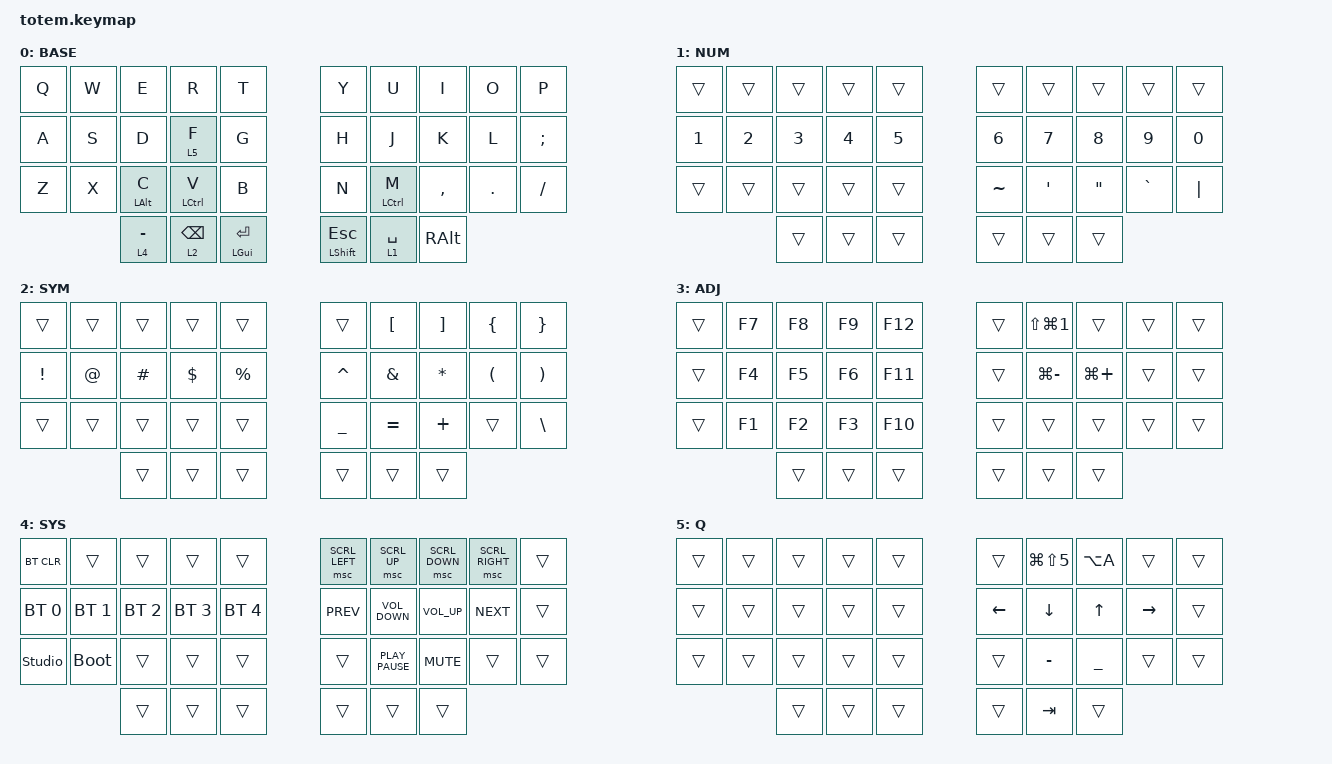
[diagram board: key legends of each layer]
#include <behaviors.dtsi>
#include <dt-bindings/zmk/bt.h>
#include <dt-bindings/zmk/keys.h>
#include <dt-bindings/zmk/pointing.h>

#define BASE 0
#define NAV  1
#define SYM  2
#define ADJ  3

&lt {
    quick-tap-ms = <200>;
    hold-trigger-on-release;
};

&mt {
    hold-trigger-on-release;
    require-prior-idle-ms = <200>;
    flavor = "tap-preferred";
};

/ {
    conditional_layers {
        compatible = "zmk,conditional-layers";

        tri_layer {
            if-layers = <1 2>;
            then-layer = <3>;
        };
    };

    behaviors {
        mt_hold: mt_hold {
            compatible = "zmk,behavior-hold-tap";
            label = "MT_HOLD";
            bindings = <&kp>, <&kp>;

            #binding-cells = <2>;
            tapping-term-ms = <200>;
        };

        underdash: underdash {
            compatible = "zmk,behavior-tap-dance";
            label = "UNDERDASH";
            #binding-cells = <0>;
            bindings = <&kp MINUS>, <&kp UNDER>;
        };

        quote: quote {
            compatible = "zmk,behavior-tap-dance";
            label = "QUOTE";
            #binding-cells = <0>;
            bindings = <&kp SINGLE_QUOTE>, <&kp DOUBLE_QUOTES>;
        };

        gravetick: gravetick {
            compatible = "zmk,behavior-tap-dance";
            label = "GRAVETICK";
            #binding-cells = <0>;
            bindings = <&kp GRAVE>, <&kp TILDE>;
        };

        left_bracket: left_bracket {
            compatible = "zmk,behavior-tap-dance";
            label = "LEFT_BRACKET";
            #binding-cells = <0>;
            bindings = <&kp LEFT_BRACKET>, <&kp LEFT_BRACE>;
        };

        right_bracket: right_bracket {
            compatible = "zmk,behavior-tap-dance";
            label = "RIGHT_BRACKET";
            #binding-cells = <0>;
            bindings = <&kp RIGHT_BRACKET>, <&kp RIGHT_BRACE>;
        };

        backslash_pipe: backslash_pipe {
            compatible = "zmk,behavior-tap-dance";
            label = "BACKSLASH_PIPE";
            #binding-cells = <0>;
            bindings = <&kp BACKSLASH>, <&kp PIPE>;
        };
    };

    keymap {
        compatible = "zmk,keymap";

        base {
            display-name = "BASE";
            bindings = <
&kp Q  &kp W  &kp E        &kp R            &kp T           &kp Y                       &kp U        &kp I      &kp O    &kp P
&kp A  &kp S  &kp D        &lt 5 F          &kp G           &kp H                       &kp J        &kp K      &kp L    &kp SEMI
&kp Z  &kp X  &mt LALT C   &mt LCTRL V      &kp B           &kp N                       &mt LCTRL M  &kp COMMA  &kp DOT  &kp FSLH
              &lt 4 MINUS  &lt 2 BACKSPACE  &mt LGUI RET    &mt_hold LEFT_SHIFT ESCAPE  &lt 1 SPACE  &kp RALT
            >;
        };

        num {
            display-name = "NUM";
            bindings = <
&trans  &trans  &trans  &trans  &trans    &trans     &trans            &trans   &trans     &trans
&kp N1  &kp N2  &kp N3  &kp N4  &kp N5    &kp N6     &kp N7            &kp N8   &kp N9     &kp N0
&trans  &trans  &trans  &trans  &trans    &kp TILDE  &kp SINGLE_QUOTE  &kp DQT  &kp GRAVE  &kp PIPE
                &trans  &trans  &trans    &trans     &trans            &trans
            >;
        };

        sym {
            display-name = "SYM";
            bindings = <
&trans    &trans  &trans     &trans      &trans         &trans     &kp LEFT_BRACKET  &kp RIGHT_BRACKET  &kp LEFT_BRACE        &kp RIGHT_BRACE
&kp EXCL  &kp AT  &kp POUND  &kp DOLLAR  &kp PERCENT    &kp CARET  &kp AMPS          &kp ASTERISK       &kp LEFT_PARENTHESIS  &kp RIGHT_PARENTHESIS
&trans    &trans  &trans     &trans      &trans         &kp UNDER  &kp EQUAL         &kp PLUS           &trans                &kp BACKSLASH
                  &trans     &trans      &trans         &trans     &trans            &trans
            >;
        };

        adj {
            display-name = "ADJ";
            bindings = <
&trans  &kp F7  &kp F8  &kp F9  &kp F12    &trans  &kp LS(LG(NUMBER_1))  &trans        &trans  &trans
&trans  &kp F4  &kp F5  &kp F6  &kp F11    &trans  &kp LG(MINUS)         &kp LG(PLUS)  &trans  &trans
&trans  &kp F1  &kp F2  &kp F3  &kp F10    &trans  &trans                &trans        &trans  &trans
                &trans  &trans  &trans     &trans  &trans                &trans
            >;
        };

        sys {
            bindings = <
&bt BT_CLR      &trans        &trans        &trans        &trans          &msc SCRL_LEFT  &msc SCRL_UP       &msc SCRL_DOWN   &msc SCRL_RIGHT  &trans
&bt BT_SEL 0    &bt BT_SEL 1  &bt BT_SEL 2  &bt BT_SEL 3  &bt BT_SEL 4    &kp K_PREV      &kp K_VOLUME_DOWN  &kp K_VOLUME_UP  &kp K_NEXT       &trans
&studio_unlock  &bootloader   &trans        &trans        &trans          &trans          &kp K_PLAY_PAUSE   &kp K_MUTE       &trans           &trans
                              &trans        &trans        &trans          &trans          &trans             &trans
            >;

            label = "SYS";
        };

        quick {
            bindings = <
&trans  &trans  &trans  &trans  &trans    &trans    &kp LG(LS(N5))  &kp LA(A)  &trans     &trans
&trans  &trans  &trans  &trans  &trans    &kp LEFT  &kp DOWN        &kp UP     &kp RIGHT  &trans
&trans  &trans  &trans  &trans  &trans    &trans    &kp MINUS       &kp UNDER  &trans     &trans
                &trans  &trans  &trans    &trans    &kp TAB         &trans
            >;

            label = "Q";
        };
    };
};
